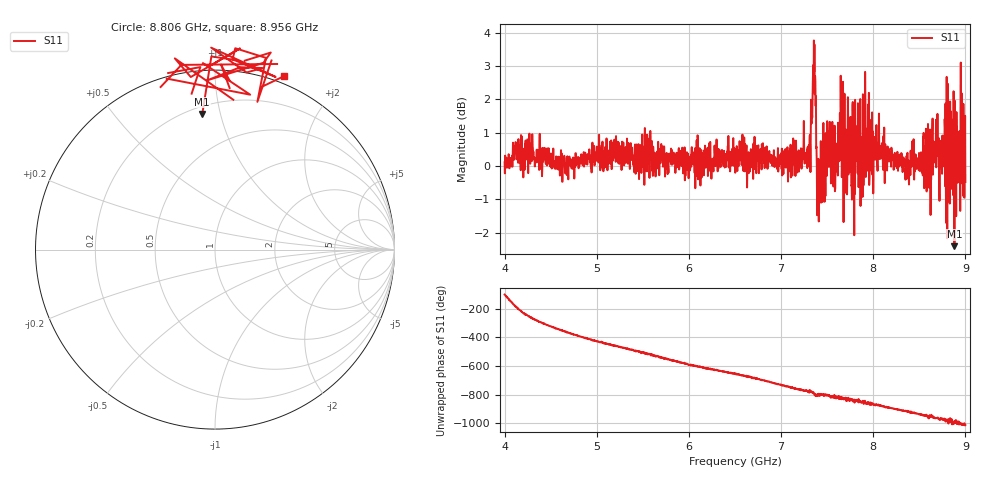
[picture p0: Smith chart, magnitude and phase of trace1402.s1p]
! Created with skrf 1.8.0 (http://scikit-rf.org).
# Hz S RI R 50.0
!freq ReS11 ImS11
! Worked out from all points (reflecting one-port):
!   1601 points, 4 GHz to 9 GHz, reference 50 ohm
!   lowest |S11| = -2.4 dB at 8.881 GHz (marker M1), VSWR 7.28, Z = 12.4 + j44 ohm
!   phase of S11 starts at -102 deg and turns -912 deg over the sweep
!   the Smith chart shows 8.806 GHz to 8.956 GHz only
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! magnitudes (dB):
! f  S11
! 4 GHz  0.1
! 4.247 GHz  0.8
! 4.625 GHz  -0.5
! 5.25 GHz  0.4
! 5.875 GHz  0.0
! 6.5 GHz  0.2
! 7.125 GHz  0.0
! 7.294 GHz  0.0
! 7.353 GHz  2.2
! 7.412 GHz  -0.5
! 7.509 GHz  0.3
! 7.562 GHz  0.2
! 7.609 GHz  0.2
! 7.647 GHz  2.7
! 7.694 GHz  0.2
! 7.75 GHz  0.3
! 7.788 GHz  -1.0
! 7.822 GHz  0.5
! 7.928 GHz  0.7
! 7.981 GHz  -0.1
! 8.038 GHz  0.5
! 8.375 GHz  -0.1
! 8.547 GHz  1.0
! 8.603 GHz  0.3
! 8.656 GHz  0.7
! 8.881 GHz  -2.4
! 8.972 GHz  0.5
! 9 GHz  -0.5
